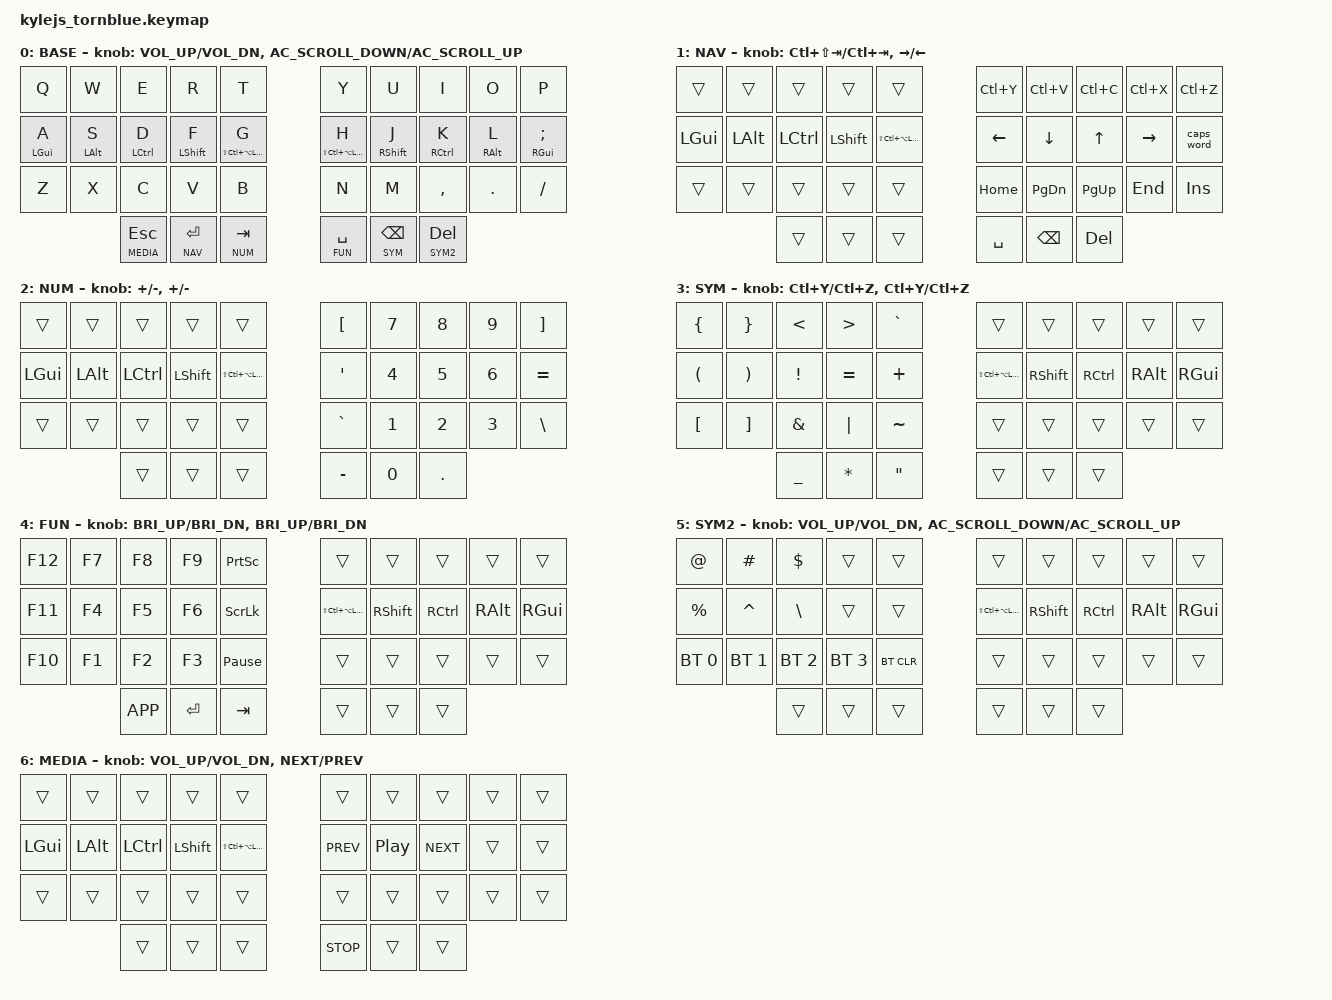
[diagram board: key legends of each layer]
/*
 * kylejs_tornblue.keymap — ZMK keymap for the TornBlue
 *
 * Layout: 3×5 split + 3 thumb keys per side + dual rotary encoders
 *
 * Layers (0–6):
 *   BASE  — QWERTY with home row mods (GACS order)
 *   NAV   — Vim arrows, clipboard, page navigation  (hold ENT)
 *   NUM   — Right-hand numpad with coding punctuation (hold TAB)
 *   SYM   — Logically grouped symbols and operators   (hold BSP)
 *   FUN   — F-keys in numpad arrangement              (hold SPC)
 *   SYM2  — Rare symbols and Bluetooth profiles       (hold DEL)
 *   MEDIA — Transport controls                        (hold ESC)
 *
 * Home row mods: GACS order — GUI ALT CTL SFT from pinky → index
 * Hyper key (⌘⌥⌃⇧) on G and H
 *
 * Key positions (for combos reference):
 *    0  1  2  3  4  |  5  6  7  8  9
 *   10 11 12 13 14  | 15 16 17 18 19
 *   20 21 22 23 24  | 25 26 27 28 29
 *         30 31 32  | 33 34 35
 */

#include <behaviors.dtsi>
#include <dt-bindings/zmk/keys.h>
#include <dt-bindings/zmk/bt.h>

/* ── Layer indices ───────────────────────────────────────────── */
#define BASE  0
#define NAV   1
#define NUM   2
#define SYM   3
#define FUN   4
#define SYM2  5
#define MEDIA 6

/* ── Hyper = all four modifiers ──────────────────────────────── */
#define HYPER LS(LC(LA(LGUI)))

/ {
    /* ── Behaviors ───────────────────────────────────────────── */
    behaviors {
        hm: homerow_mods {
            compatible = "zmk,behavior-hold-tap";
            #binding-cells = <2>;
            tapping-term-ms = <200>;
            quick-tap-ms = <150>;
            require-prior-idle-ms = <125>;
            flavor = "balanced";
            bindings = <&kp>, <&kp>;
        };
    };

    /* ── Combos (BASE layer only) ────────────────────────────── */
    combos {
        compatible = "zmk,combos";

        combo_equal {
            timeout-ms = <50>;
            key-positions = <1 2>;          /* W + E  →  = */
            bindings = <&kp EQUAL>;
            layers = <BASE>;
        };
        combo_under {
            timeout-ms = <50>;
            key-positions = <2 3>;          /* E + R  →  _ */
            bindings = <&kp UNDER>;
            layers = <BASE>;
        };
        combo_lpar {
            timeout-ms = <50>;
            key-positions = <6 7>;          /* U + I  →  ( */
            bindings = <&kp LPAR>;
            layers = <BASE>;
        };
        combo_rpar {
            timeout-ms = <50>;
            key-positions = <7 8>;          /* I + O  →  ) */
            bindings = <&kp RPAR>;
            layers = <BASE>;
        };
        combo_esc {
            timeout-ms = <50>;
            key-positions = <21 22>;        /* X + C  →  ESC */
            bindings = <&kp ESC>;
            layers = <BASE>;
        };
    };

    /* ── Keymap ──────────────────────────────────────────────── */
    keymap {
        compatible = "zmk,keymap";

        /* ── 0: BASE ────────────────────────────────────────── */
        base_layer {
            label = "BASE";
            bindings = <
    &kp Q       &kp W       &kp E       &kp R       &kp T           &kp Y       &kp U       &kp I       &kp O       &kp P
    &hm LGUI A  &hm LALT S  &hm LCTRL D &hm LSHFT F &hm HYPER G     &hm HYPER H &hm RSHFT J &hm RCTRL K &hm RALT L  &hm RGUI SEMI
    &kp Z       &kp X       &kp C       &kp V       &kp B           &kp N       &kp M       &kp COMMA   &kp DOT     &kp FSLH
                        &lt MEDIA ESC   &lt NAV RET &lt NUM TAB      &lt FUN SPACE &lt SYM BSPC &lt SYM2 DEL
            >;
            sensor-bindings = <&inc_dec_kp C_VOL_UP C_VOL_DN>, <&inc_dec_kp C_AC_SCROLL_DOWN C_AC_SCROLL_UP>;
        };

        /* ── 1: NAV  (hold ENT — pos 31) ────────────────────── */
        /*  Clipboard on right top row (Ctrl+letter for Linux/Win)  */
        /*  Vim arrows on right home row, page nav on bottom row    */
        nav_layer {
            label = "NAV";
            bindings = <
    &trans      &trans      &trans      &trans      &trans          &kp LC(Y)   &kp LC(V)   &kp LC(C)   &kp LC(X)   &kp LC(Z)
    &kp LGUI    &kp LALT    &kp LCTRL   &kp LSHFT   &kp HYPER       &kp LEFT    &kp DOWN    &kp UP      &kp RIGHT   &caps_word
    &trans      &trans      &trans      &trans      &trans          &kp HOME    &kp PG_DN   &kp PG_UP   &kp END     &kp INS
                             &trans      &trans      &trans          &kp SPACE   &kp BSPC    &kp DEL
            >;
            sensor-bindings = <&inc_dec_kp LC(LS(TAB)) LC(TAB)>, <&inc_dec_kp RIGHT LEFT>;
        };

        /* ── 2: NUM  (hold TAB — pos 32) ────────────────────── */
        /*  Right-hand numpad: 789 / 456 / 123  with [ ] ' = ` \  */
        num_layer {
            label = "NUM";
            bindings = <
    &trans      &trans      &trans      &trans      &trans          &kp LBKT    &kp N7      &kp N8      &kp N9      &kp RBKT
    &kp LGUI    &kp LALT    &kp LCTRL   &kp LSHFT   &kp HYPER       &kp SQT     &kp N4      &kp N5      &kp N6      &kp EQUAL
    &trans      &trans      &trans      &trans      &trans          &kp GRAVE   &kp N1      &kp N2      &kp N3      &kp BSLH
                             &trans      &trans      &trans          &kp MINUS   &kp N0      &kp DOT
            >;
            sensor-bindings = <&inc_dec_kp PLUS MINUS>, <&inc_dec_kp PLUS MINUS>;
        };

        /* ── 3: SYM  (hold BSP — pos 34) ────────────────────── */
        /*  Brackets stacked: pinky=open, ring=close              */
        /*  Home row: ( ) ! = +  — most common coding operators   */
        /*  Bigrams: != <= >= <> () {} [] are inward rolls         */
        sym_layer {
            label = "SYM";
            bindings = <
    &kp LBRC    &kp RBRC    &kp LT      &kp GT      &kp GRAVE       &trans      &trans      &trans      &trans      &trans
    &kp LPAR    &kp RPAR    &kp EXCL    &kp EQUAL   &kp PLUS        &kp HYPER   &kp RSHFT   &kp RCTRL   &kp RALT    &kp RGUI
    &kp LBKT    &kp RBKT    &kp AMPS    &kp PIPE    &kp TILDE       &trans      &trans      &trans      &trans      &trans
                             &kp UNDER   &kp ASTRK   &kp DQT         &trans      &trans      &trans
            >;
            sensor-bindings = <&inc_dec_kp LC(Y) LC(Z)>, <&inc_dec_kp LC(Y) LC(Z)>;
        };

        /* ── 4: FUN  (hold SPC — pos 33) ────────────────────── */
        /*  F-keys in numpad arrangement on left hand              */
        fun_layer {
            label = "FUN";
            bindings = <
    &kp F12     &kp F7      &kp F8      &kp F9      &kp PSCRN       &trans      &trans      &trans      &trans      &trans
    &kp F11     &kp F4      &kp F5      &kp F6      &kp SLCK        &kp HYPER   &kp RSHFT   &kp RCTRL   &kp RALT    &kp RGUI
    &kp F10     &kp F1      &kp F2      &kp F3      &kp PAUSE_BREAK &trans      &trans      &trans      &trans      &trans
                             &kp K_APP   &kp RET     &kp TAB         &trans      &trans      &trans
            >;
            sensor-bindings = <&inc_dec_kp C_BRI_UP C_BRI_DN>, <&inc_dec_kp C_BRI_UP C_BRI_DN>;
        };

        /* ── 5: SYM2 (hold DEL — pos 35) ────────────────────── */
        /*  Rare symbols on left hand — no same-hand chording      */
        /*  BT profiles on bottom row for wireless management      */
        sym2_layer {
            label = "SYM2";
            bindings = <
    &kp AT      &kp HASH    &kp DLLR    &trans      &trans          &trans      &trans      &trans      &trans      &trans
    &kp PRCNT   &kp CARET   &kp BSLH    &trans      &trans          &kp HYPER   &kp RSHFT   &kp RCTRL   &kp RALT    &kp RGUI
    &bt BT_SEL 0 &bt BT_SEL 1 &bt BT_SEL 2 &bt BT_SEL 3 &bt BT_CLR &trans     &trans      &trans      &trans      &trans
                             &trans      &trans      &trans          &trans      &trans      &trans
            >;
            sensor-bindings = <&inc_dec_kp C_VOL_UP C_VOL_DN>, <&inc_dec_kp C_AC_SCROLL_DOWN C_AC_SCROLL_UP>;
        };

        /* ── 6: MEDIA (hold ESC — pos 30) ────────────────────── */
        /*  Transport on right home row. Volume on encoders only.  */
        media_layer {
            label = "MEDIA";
            bindings = <
    &trans      &trans      &trans      &trans      &trans          &trans      &trans      &trans      &trans      &trans
    &kp LGUI    &kp LALT    &kp LCTRL   &kp LSHFT   &kp HYPER       &kp C_PREV  &kp C_PP    &kp C_NEXT  &trans      &trans
    &trans      &trans      &trans      &trans      &trans          &trans      &trans      &trans      &trans      &trans
                             &trans      &trans      &trans          &kp C_STOP  &trans      &trans
            >;
            sensor-bindings = <&inc_dec_kp C_VOL_UP C_VOL_DN>, <&inc_dec_kp C_NEXT C_PREV>;
        };
    };
};
